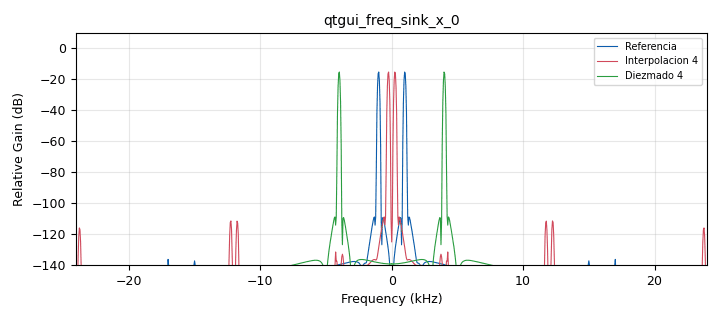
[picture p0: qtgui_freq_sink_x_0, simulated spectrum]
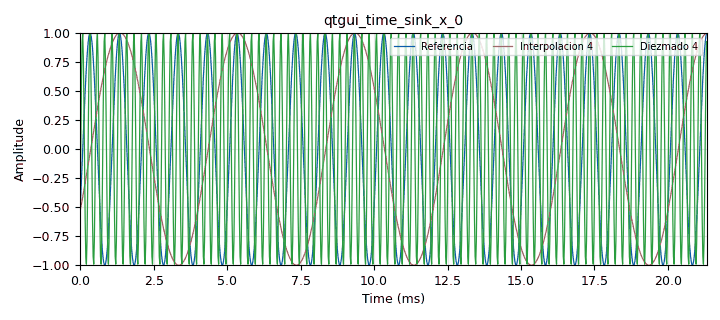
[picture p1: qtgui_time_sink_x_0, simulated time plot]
options:
  parameters:
    author: Grupo_4_Caballero
    generate_options: qt_gui
    id: diezmado_interpolado
    output_language: python
    title: diezmado_interpolado
  states: {}

blocks:
- name: samp_rate
  id: variable
  parameters:
    value: '48000'
  states: {}
- name: analog_sig_source_x_0
  id: analog_sig_source_x
  parameters:
    amp: '1'
    freq: '1000'
    offset: '0'
    phase: '0'
    samp_rate: samp_rate
    type: float
    waveform: analog.GR_COS_WAVE
  states: {}
- name: analog_sig_source_x_0_0
  id: analog_sig_source_x
  parameters:
    amp: '1'
    freq: '1000'
    offset: '0'
    phase: '0'
    samp_rate: samp_rate
    type: float
    waveform: analog.GR_COS_WAVE
  states: {}
- name: analog_sig_source_x_0_1
  id: analog_sig_source_x
  parameters:
    amp: '1'
    freq: '1000'
    offset: '0'
    phase: '0'
    samp_rate: samp_rate
    type: float
    waveform: analog.GR_COS_WAVE
  states: {}
- name: blocks_throttle_0
  id: blocks_throttle
  parameters:
    samples_per_second: samp_rate
    type: float
  states: {}
- name: qtgui_freq_sink_x_0
  id: qtgui_freq_sink_x
  parameters:
    average: '0.2'
    bw: samp_rate
    color2: '"yellow"'
    fc: '0'
    fftsize: '1024'
    label1: Referencia
    label2: Interpolacion 4
    label3: Diezmado 4
    nconnections: '3'
    type: float
  states: {}
- name: qtgui_time_sink_x_0
  id: qtgui_time_sink_x
  parameters:
    color2: dark red
    color3: dark green
    label1: Referencia
    label2: Interpolacion 4
    label3: Diezmado 4
    nconnections: '3'
    size: '1024'
    srate: samp_rate
    type: float
  states: {}
- name: rational_resampler_xxx_0
  id: rational_resampler_xxx
  parameters:
    decim: '1'
    interp: '1'
    type: fff
  states: {}
- name: rational_resampler_xxx_0_0
  id: rational_resampler_xxx
  parameters:
    decim: '1'
    interp: '4'
    type: fff
  states: {}
- name: rational_resampler_xxx_0_1
  id: rational_resampler_xxx
  parameters:
    decim: '4'
    interp: '1'
    type: fff
  states: {}

connections:
- [analog_sig_source_x_0, '0', rational_resampler_xxx_0, '0']
- [analog_sig_source_x_0_0, '0', rational_resampler_xxx_0_0, '0']
- [analog_sig_source_x_0_1, '0', rational_resampler_xxx_0_1, '0']
- [blocks_throttle_0, '0', qtgui_freq_sink_x_0, '0']
- [blocks_throttle_0, '0', qtgui_time_sink_x_0, '0']
- [rational_resampler_xxx_0, '0', blocks_throttle_0, '0']
- [rational_resampler_xxx_0_0, '0', qtgui_freq_sink_x_0, '1']
- [rational_resampler_xxx_0_0, '0', qtgui_time_sink_x_0, '1']
- [rational_resampler_xxx_0_1, '0', qtgui_freq_sink_x_0, '2']
- [rational_resampler_xxx_0_1, '0', qtgui_time_sink_x_0, '2']

metadata:
  file_format: 1
